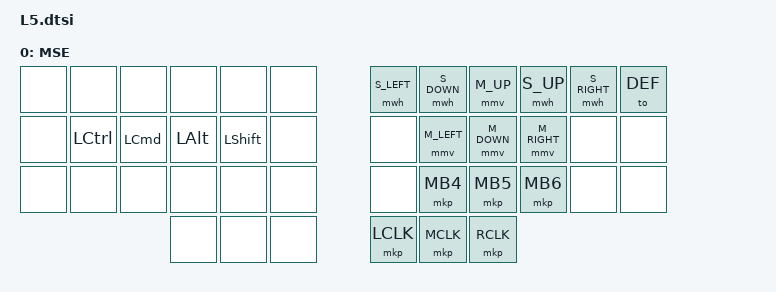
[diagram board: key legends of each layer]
/**
 *  Mouse Layer
 */

/ {
  keymap {
    compatible = "zmk,keymap";

    layer_5 {
      label = "MSE";
      bindings = <
// ╭───────────────┬───────────────┬───────────────┬───────────────┬───────────────┬───────────────╮   ╭───────────────┬───────────────┬───────────────┬───────────────┬───────────────┬───────────────╮
//  0               1               2               3               4               5                   6               7               8               9               10              11
    &none           &none           &none           &none           &none           &none               &mwh S_LEFT     &mwh S_DOWN     &mmv M_UP       &mwh S_UP       &mwh S_RIGHT    &to DEF
// ├───────────────├───────────────┼───────────────┼───────────────┼───────────────┼───────────────┤   ├───────────────├───────────────┼───────────────┼───────────────┼───────────────┼───────────────┤
//  12              13              14              15              16              17                  18              19              20              21              22              23
    &none           &kp LCTRL       &kp LCMD        &kp LALT        &kp LSHFT       &none               &none           &mmv M_LEFT     &mmv M_DOWN     &mmv M_RIGHT    &none           &none 
// ├───────────────├───────────────┼───────────────┼───────────────┼───────────────┼───────────────┤   ├───────────────├───────────────┼───────────────┼───────────────┼───────────────┼───────────────┤
//  24              25              26              27              28              29                  30              31              32              33              34              35
    &none           &none           &none           &none           &none           &none               &none           &mkp MB4        &mkp MB5        &mkp MB6        &none           &none           
// ╰───────────────┴───────────────┴───────────────┼───────────────┼───────────────┼───────────────┤   ├───────────────├───────────────┼───────────────┼───────────────┴───────────────┴───────────────╯
//                                                  36              37              38                  39              40              41
                                                    &none           &none           &none               &mkp LCLK       &mkp MCLK       &mkp RCLK        
//                                                 ╰───────────────┴───────────────┴───────────────╯   ╰───────────────┴───────────────┴───────────────╯
      >;
    };
  };
};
